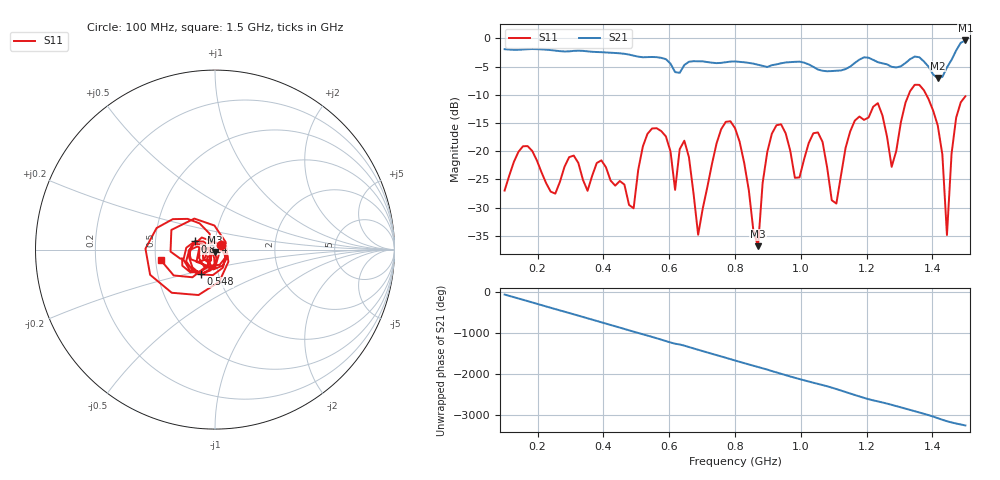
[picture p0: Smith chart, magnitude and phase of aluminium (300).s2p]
! NanoVNA-App
! Date: 2025-09-25 14:57:37
! Start: 100MHz Stop: 1,5GHz Points: 101
! S-Parameter data: F S11 S21 S12 S22
# Hz S RI R 50
!  Frequency  S11_Real  S11_Imag  S21_Real  S21_Imag  S12_Real  S12_Imag  S22_Real  S22_Imag
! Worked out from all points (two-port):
!   101 points, 100 MHz to 1.5 GHz, reference 50 ohm
!   highest |S21| = -0.37 dB at 1.5 GHz (marker M1); lowest = -7.0 dB at 1.416 GHz (marker M2)
!   |S21| within 3 dB of the highest: start of sweep to 566.9 MHz; 1.462 GHz to end of sweep (the widest 2 of 4)
!   lowest |S11| = -36.8 dB at 870 MHz (marker M3), VSWR 1.03, Z = 49.8 - j1.43 ohm
!   |S11| at or under -10 dB: start of sweep to 1.328 GHz; 1.381 GHz to end of sweep
!   S12 and S22 are empty: the file has one direction only
!   S11 on the Smith chart (normalised r, x): 100 MHz: 1.07, +0.06; 548 MHz: 0.82, -0.23; 814 MHz: 0.79, +0.07; 1.5 GHz: 0.53, -0.07
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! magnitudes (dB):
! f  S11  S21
! 100 MHz  -27.0  -1.9
! 338 MHz  -25.0  -2.2
! 492 MHz  -30.1  -3.1
! 548 MHz  -16.0  -3.3
! 576 MHz  -16.4  -3.5
! 618 MHz  -26.8  -6.0
! 646 MHz  -18.1  -4.7
! 688 MHz  -34.8  -4.1
! 800 MHz  -15.9  -4.1
! 814 MHz  -18.3  -4.2
! 870 MHz  -36.8  -4.7
! 912 MHz  -16.9  -4.8
! 982 MHz  -24.7  -4.2
! 1.038 GHz  -16.8  -5.1
! 1.108 GHz  -29.3  -5.7
! 1.234 GHz  -11.5  -4.2
! 1.276 GHz  -22.8  -5.0
! 1.346 GHz  -8.2  -3.2
! 1.416 GHz  -15.4  -7.0
! 1.444 GHz  -34.8  -5.2
! 1.472 GHz  -14.0  -2.1
! 1.5 GHz  -10.3  -0.4
